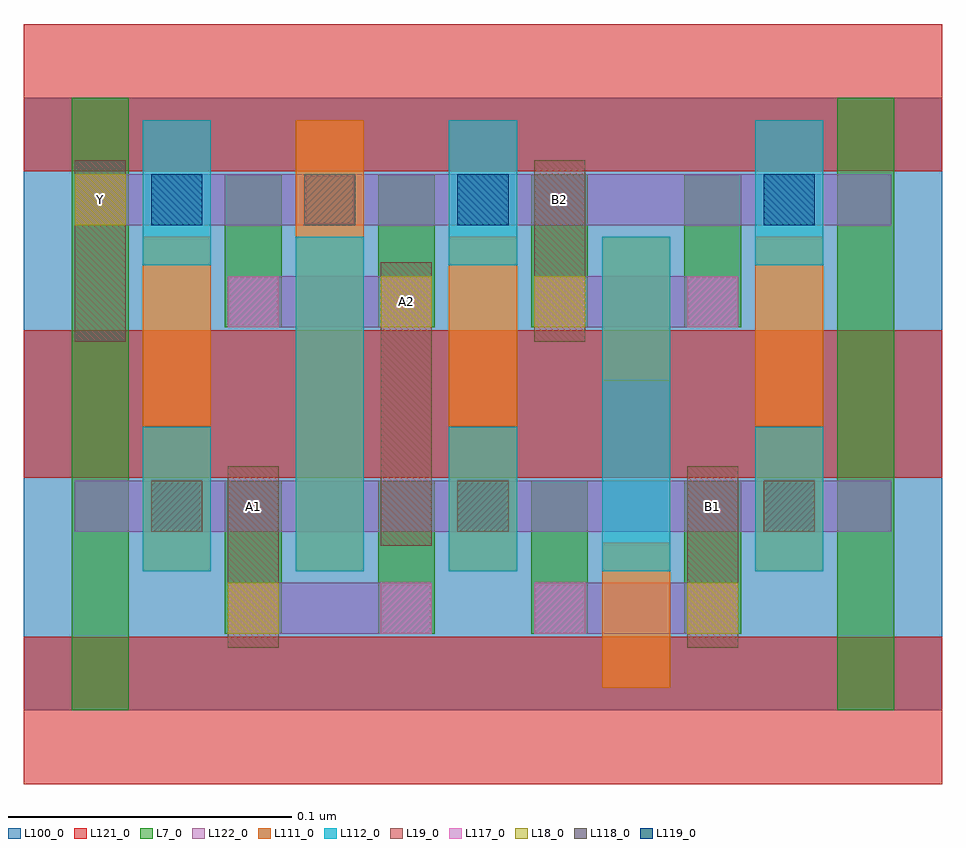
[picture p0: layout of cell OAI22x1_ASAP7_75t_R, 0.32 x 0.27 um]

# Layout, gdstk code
import gdstk
lib = gdstk.Library(unit=1e-6, precision=2.5e-10)
def R(c, l, rs):  # rectangles x0, y0, x1, y1
    for r in rs: c.add(gdstk.rectangle(r[:2], r[2:], *l))
def A(c, l, x, y, w, h, nx, ny, dx, dy):  # array of equal rectangles
    R(c, l, [(x+i*dx, y+j*dy, x+i*dx+w, y+j*dy+h) for i in range(nx) for j in range(ny)])
L7_0 = (7, 0)
L18_0 = (18, 0)
L19_0 = (19, 0)
L100_0 = (100, 0)
L111_0 = (111, 0)
L112_0 = (112, 0)
L117_0 = (117, 0)
L118_0 = (118, 0)
L119_0 = (119, 0)
L121_0 = (121, 0)
L122_0 = (122, 0)

oai22x1_asap7_75t_r = lib.new_cell('OAI22x1_ASAP7_75t_R')
A(oai22x1_asap7_75t_r, L7_0, 0.071, 0.027, 0.02, 0.054, 4, 2, 0.054, 0.108)
R(oai22x1_asap7_75t_r, L7_0, [(0.017,0,0.037,0.108), (0.287,0,0.307,0.108), (0.017,0.108,0.037,0.216), (0.287,0.108,0.307,0.216)])
R(oai22x1_asap7_75t_r, L18_0, [(0.072,0.027,0.09,0.045), (0.234,0.027,0.252,0.045), (0.126,0.135,0.144,0.153), (0.18,0.135,0.198,0.153), (0.018,0.171,0.036,0.189)])
R(oai22x1_asap7_75t_r, L19_0, [(0.072,0.022,0.09,0.086), (0.234,0.022,0.252,0.086), (0.126,0.058,0.144,0.158), (0.018,0.13,0.036,0.194), (0.18,0.13,0.198,0.194)])
R(oai22x1_asap7_75t_r, L100_0, [(0,0,0.324,0.216)])
A(oai22x1_asap7_75t_r, L111_0, 0.042, 0.049, 0.024, 0.059, 3, 1, 0.054, 0)
A(oai22x1_asap7_75t_r, L111_0, 0.042, 0.108, 0.024, 0.059, 3, 1, 0.108, 0)
R(oai22x1_asap7_75t_r, L111_0, [(0.204,0.008,0.228,0.059), (0.258,0.049,0.282,0.108), (0.096,0.108,0.12,0.208), (0.204,0.116,0.228,0.167)])
A(oai22x1_asap7_75t_r, L112_0, 0.042, 0.049, 0.024, 0.051, 3, 2, 0.108, 0.108)
R(oai22x1_asap7_75t_r, L112_0, [(0.096,0.049,0.12,0.108), (0.204,0.049,0.228,0.108), (0.096,0.108,0.12,0.167), (0.204,0.108,0.228,0.167)])
A(oai22x1_asap7_75t_r, L117_0, 0.072, 0.027, 0.018, 0.018, 4, 2, 0.054, 0.108)
A(oai22x1_asap7_75t_r, L118_0, 0.045, 0.063, 0.018, 0.018, 3, 1, 0.108, 0)
R(oai22x1_asap7_75t_r, L118_0, [(0.099,0.171,0.117,0.189)])
A(oai22x1_asap7_75t_r, L119_0, 0.045, 0.171, 0.018, 0.018, 3, 1, 0.108, 0)
A(oai22x1_asap7_75t_r, L121_0, 0, -0.026, 0.324, 0.052, 1, 3, 0, 0.108)
R(oai22x1_asap7_75t_r, L122_0, [(0.072,0.027,0.144,0.045), (0.18,0.027,0.252,0.045), (0.018,0.063,0.306,0.081), (0.072,0.135,0.144,0.153), (0.18,0.135,0.252,0.153), (0.018,0.171,0.306,0.189)])
oai22x1_asap7_75t_r.add(gdstk.Label('Y', (0.027,0.18), layer=19, texttype=251))
oai22x1_asap7_75t_r.add(gdstk.Label('B2', (0.189,0.18), layer=19, texttype=251))
oai22x1_asap7_75t_r.add(gdstk.Label('B1', (0.243,0.072), layer=19, texttype=251))
oai22x1_asap7_75t_r.add(gdstk.Label('A2', (0.135,0.144), layer=19, texttype=251))
oai22x1_asap7_75t_r.add(gdstk.Label('A1', (0.081,0.072), layer=19, texttype=251))

lib.write_gds('OAI22x1_ASAP7_75t_R.gds')
